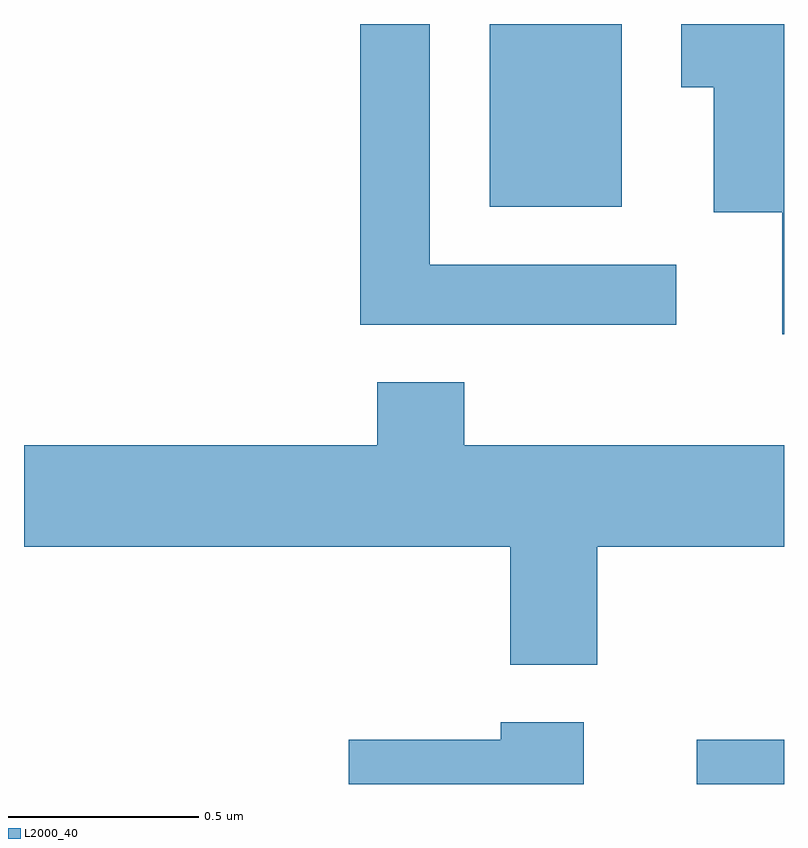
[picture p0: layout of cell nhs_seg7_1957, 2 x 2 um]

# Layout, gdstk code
import gdstk
lib = gdstk.Library(unit=1e-6, precision=1e-09)
def R(c, l, rs):  # rectangles x0, y0, x1, y1
    for r in rs: c.add(gdstk.rectangle(r[:2], r[2:], *l))
def P(c, l, *ps):  # polygons
    for p in ps: c.add(gdstk.Polygon(p, *l))
L2000_40 = (2000, 40)

nhs_seg7_1957 = lib.new_cell('nhs_seg7_1957')
R(nhs_seg7_1957, L2000_40, [(201.381,1709.252,201.611,1709.369), (200.836,1710.771,201.184,1711.252)])
P(nhs_seg7_1957, L2000_40, [(201.328,1710.619),(200.679,1710.619),(200.679,1711.252),(200.496,1711.252),(200.496,1710.461),(201.328,1710.461)],
  [(201.611,1711.252),(201.341,1711.252),(201.341,1711.086),(201.426,1711.086),(201.426,1710.756),(201.606,1710.756),(201.606,1710.436),(201.611,1710.436)],
  [(201.119,1709.876),(201.611,1709.876),(201.611,1710.144),(200.769,1710.144),(200.769,1710.309),(200.541,1710.309),(200.541,1710.144),(199.611,1710.144),(199.611,1709.876),(200.891,1709.876),(200.891,1709.566),(201.119,1709.566)],
  [(201.084,1709.414),(200.866,1709.414),(200.866,1709.369),(200.466,1709.369),(200.466,1709.252),(201.084,1709.252)])

lib.write_gds('nhs_seg7_1957.gds')
